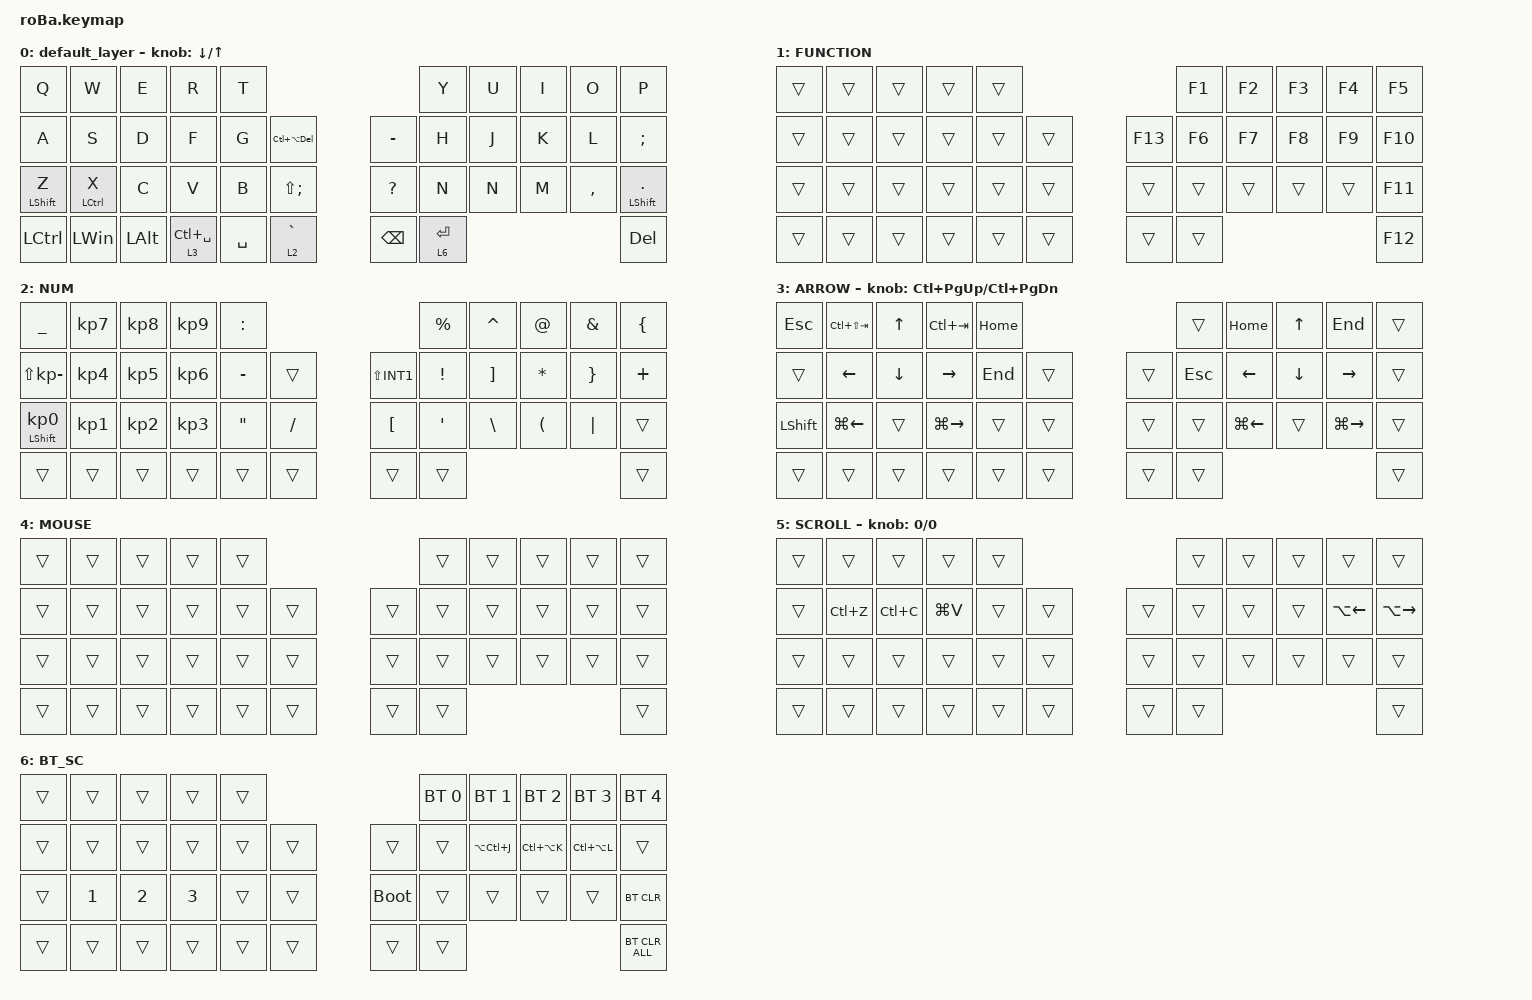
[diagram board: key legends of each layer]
#include <behaviors.dtsi>
#include <dt-bindings/zmk/bt.h>
#include <dt-bindings/zmk/keys.h>
#include <dt-bindings/zmk/pointing.h>

// OS設定を日本語キーボードのまま使用するための変換定義

#define JP_DQUOTE       AT                // "
#define JP_AMPERSAND    CARET             // &
#define JP_QUOTE        AMPERSAND         // '
#define JP_EQUAL        UNDER             // =
#define JP_CARET        EQUAL             // ^
#define JP_YEN          0x89              // ¥
#define JP_PLUS         COLON             // +
#define JP_TILDE        PLUS              // ~
#define JP_PIPE         LS(0x89)          // |
#define JP_AT           LEFT_BRACKET      // @
#define JP_COLON        SINGLE_QUOTE      // :
#define JP_ASTERISK     DOUBLE_QUOTES     // *
#define JP_BACKQUOTE    LEFT_BRACE        // `
#define JP_UNDERSCORE   LS(0x87)          // _
#define JP_LBRACKET     RIGHT_BRACKET     // [
#define JP_RBRACKET     BACKSLASH         // ]
#define JP_LPAREN       ASTERISK          // (
#define JP_RPAREN       LEFT_PARENTHESIS  // )
#define JP_LBRACE       RIGHT_BRACE       // {
#define JP_RBRACE       PIPE              // }
#define JP_KANA         LANGUAGE_1        // かな
#define JP_EISU         LANGUAGE_2        // 英数
#define JP_HANZEN       GRAVE             // 半角/全角

&mt {
    flavor = "balanced";
    quick-tap-ms = <0>;
};

&trackball {
    automouse-layer = <4>;
    scroll-layers = <5>;

    // arrows {
    //     layers = <3>;
    //     bindings =
    //         <&kp RIGHT_ARROW>,
    //         <&kp LEFT_ARROW>,
    //         <&kp UP_ARROW>,
    //         <&kp DOWN_ARROW>;
    //     tick = <10>;
    //     wait-ms = <5>;
    //     tap-ms = <5>;
    // };
};

/ {
    combos {
        compatible = "zmk,combos";

        tab {
            bindings = <&kp TAB>;
            key-positions = <11 12>;
        };

        shift_tab {
            bindings = <&kp LS(TAB)>;
            key-positions = <12 13>;
        };

        MouseLeftKey {
            bindings = <&mkp LCLK>;
            key-positions = <18 19>;
        };

        MouseRightKey {
            bindings = <&mkp RCLK>;
            key-positions = <20 19>;
        };

        MouseSchrollUP {
            bindings = <&msc SCRL_UP>;
            key-positions = <6 7>;
        };

        MouseSchrollDown {
            bindings = <&msc SCRL_DOWN>;
            key-positions = <30 31>;
        };

        BrouserBack {
            bindings = <&mkp MB4>;
            key-positions = <2 1>;
        };

        BrouserNext {
            bindings = <&mkp MB5>;
            key-positions = <2 3>;
        };

        Upper {
            bindings = <&kp LC(LS(SEMI))>;
            key-positions = <7 8>;
        };

        Muhenkan {
            bindings = <&kp INTERNATIONAL_5>;
            key-positions = <31 32>;
        };
    };

    macros {
        to_layer_0: to_layer_0 {
            compatible = "zmk,behavior-macro-one-param";
            #binding-cells = <1>;
            bindings = <&to 0 &macro_param_1to1 &kp MACRO_PLACEHOLDER>;
            label = "TO_LAYER_0";
        };
    };

    behaviors {
        lt_to_layer_0: lt_to_layer_0 {
            compatible = "zmk,behavior-hold-tap";
            label = "LAYER_TAP_TO_0";
            bindings = <&mo>, <&to_layer_0>;

            #binding-cells = <2>;
            tapping-term-ms = <200>;
        };
    };

    keymap {
        compatible = "zmk,keymap";

        default_layer {
            bindings = <
&kp Q             &kp W         &kp E         &kp R            &kp T                                                 &kp Y        &kp U  &kp I  &kp O      &kp P
&kp A             &kp S         &kp D         &kp F            &kp G      &kp LC(LA(DELETE))          &kp MINUS      &kp H        &kp J  &kp K  &kp L      &kp SEMICOLON
&mt LEFT_SHIFT Z  &mt LCTRL X   &kp C         &kp V            &kp B      &kp LS(SEMICOLON)           &kp QUESTION   &kp N        &kp N  &kp M  &kp COMMA  &mt LEFT_SHIFT PERIOD
&kp LEFT_CONTROL  &kp LEFT_WIN  &kp LEFT_ALT  &lt 3 LC(SPACE)  &kp SPACE  &lt_to_layer_0 2 GRAVE      &kp BACKSPACE  &lt 6 ENTER                           &kp DELETE
            >;

            sensor-bindings = <&inc_dec_kp DOWN UP>;
        };

        FUNCTION {
            bindings = <
&trans  &trans  &trans  &trans  &trans                       &kp F1  &kp F2  &kp F3  &kp F4  &kp F5
&trans  &trans  &trans  &trans  &trans  &trans      &kp F13  &kp F6  &kp F7  &kp F8  &kp F9  &kp F10
&trans  &trans  &trans  &trans  &trans  &trans      &trans   &trans  &trans  &trans  &trans  &kp F11
&trans  &trans  &trans  &trans  &trans  &trans      &trans   &trans                          &kp F12
            >;
        };

        NUM {
            bindings = <
&kp UNDER                   &kp KP_NUMBER_7  &kp KP_NUMBER_8  &kp KP_NUMBER_9  &kp COLON                                           &kp PERCENT       &kp CARET          &kp AT                &kp AMPERSAND    &kp LEFT_BRACE
&kp LS(KP_MINUS)            &kp KP_NUMBER_4  &kp KP_NUMBER_5  &kp KP_NUMBER_6  &kp MINUS          &trans         &kp LS(INT1)      &kp EXCLAMATION   &kp RIGHT_BRACKET  &kp ASTERISK          &kp RIGHT_BRACE  &kp PLUS
&mt LEFT_SHIFT KP_NUMBER_0  &kp KP_NUMBER_1  &kp KP_NUMBER_2  &kp KP_NUMBER_3  &kp DOUBLE_QUOTES  &kp SLASH      &kp LEFT_BRACKET  &kp SINGLE_QUOTE  &kp BACKSLASH      &kp LEFT_PARENTHESIS  &kp PIPE         &trans
&trans                      &trans           &trans           &trans           &trans             &trans         &trans            &trans                                                                      &trans
            >;
        };

        ARROW {
            bindings = <
&kp ESCAPE      &kp LC(LS(TAB))     &kp UP_ARROW    &kp LC(TAB)          &kp HOME                      &trans   &kp HOME      &kp UP_ARROW    &kp END        &trans
&trans          &kp LEFT_ARROW      &kp DOWN_ARROW  &kp RIGHT_ARROW      &kp END   &trans      &trans  &kp ESC  &kp LEFT      &kp DOWN_ARROW  &kp RIGHT      &trans
&kp LEFT_SHIFT  &kp LG(LEFT_ARROW)  &trans          &kp LG(RIGHT_ARROW)  &trans    &trans      &trans  &trans   &kp LG(LEFT)  &trans          &kp LG(RIGHT)  &trans
&trans          &trans              &trans          &trans               &trans    &trans      &trans  &trans                                                &trans
            >;

            sensor-bindings = <&inc_dec_kp LC(PAGE_UP) LC(PAGE_DOWN)>;
        };

        MOUSE {
            bindings = <
&trans  &trans  &trans  &trans  &trans                      &trans  &trans  &trans  &trans  &trans
&trans  &trans  &trans  &trans  &trans  &trans      &trans  &trans  &trans  &trans  &trans  &trans
&trans  &trans  &trans  &trans  &trans  &trans      &trans  &trans  &trans  &trans  &trans  &trans
&trans  &trans  &trans  &trans  &trans  &trans      &trans  &trans                          &trans
            >;
        };

        SCROLL {
            bindings = <
&trans  &trans     &trans     &trans     &trans                      &trans  &trans  &trans  &trans        &trans
&trans  &kp LC(Z)  &kp LC(C)  &kp LG(V)  &trans  &trans      &trans  &trans  &trans  &trans  &kp LA(LEFT)  &kp LA(RIGHT)
&trans  &trans     &trans     &trans     &trans  &trans      &trans  &trans  &trans  &trans  &trans        &trans
&trans  &trans     &trans     &trans     &trans  &trans      &trans  &trans                                &trans
            >;

            sensor-bindings = <&inc_dec_kp 0 0>;
        };

        BT_SC {
            bindings = <
&trans  &trans        &trans        &trans        &trans                           &bt BT_SEL 0  &bt BT_SEL 1   &bt BT_SEL 2   &bt BT_SEL 3   &bt BT_SEL 4
&trans  &trans        &trans        &trans        &trans  &trans      &trans       &trans        &kp LA(LC(J))  &kp LC(LA(K))  &kp LC(LA(L))  &trans
&trans  &kp NUMBER_1  &kp NUMBER_2  &kp NUMBER_3  &trans  &trans      &bootloader  &trans        &trans         &trans         &trans         &bt BT_CLR
&trans  &trans        &trans        &trans        &trans  &trans      &trans       &trans                                                     &bt BT_CLR_ALL
            >;
        };
    };
};
